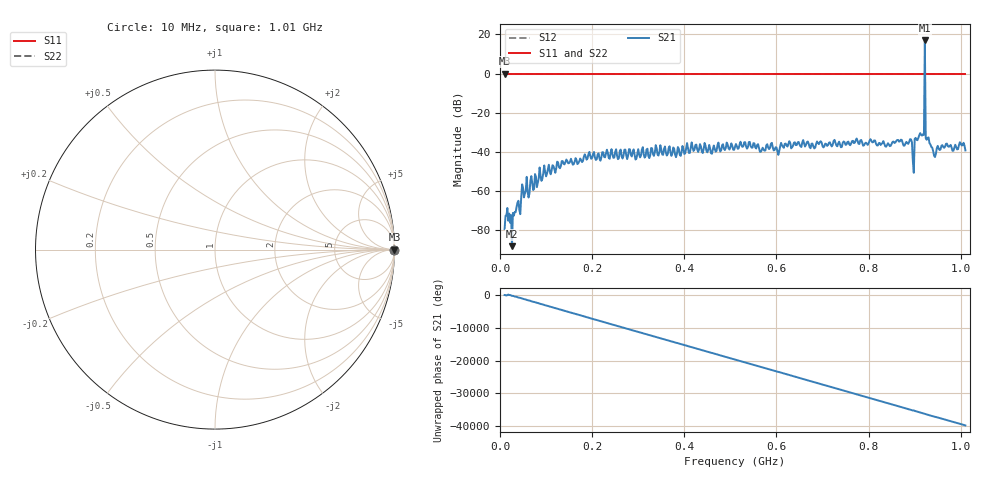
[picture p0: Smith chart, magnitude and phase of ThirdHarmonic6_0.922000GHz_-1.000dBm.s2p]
! 8/16/2025 6:06:57 AM
! C:\ANRITSUVNA\TEMP\TEMP.S2P
! CHANNEL.1
! TR.MEASUREMENT
! RAW.DATA
! RF.CORRECTION.OFF
! AVERAGING.OFF
! IF.BANDWIDTH: 5KHZ
! SWEEPTYPE:  FREQ.SWEEP(Linear)
! Reference Plane Port Info
! PORT:  PORT1  PORT2
! DISTANCE:  0  m  0  m
! TIME:  0  s  0  s
! PHASE.OFFSET:  0  deg.  0  deg.
! LOSS:  0  dB  0  dB
! REF.LOSS:  0  dB  0  dB
! REF.FREQ:  0  Hz  0  Hz
! Power Info
! POWER:  -20  dBm  -20  dBm
! EFF.POWER:  -20  dBm  -20  dBm
! SOURCE.ATTEN:  0  dB  0  dB
! TEST.ATTEN:  0  dB  0  dB
# GHZ S RI R 50.0
! FREQ.GHZ  S11RE  S11IM  S21RE  S21IM  S12RE  S12IM  S22RE  S22IM
!; PortSelection: Port_12
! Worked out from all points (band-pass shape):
!   501 points, 10 MHz to 1.01 GHz, reference 50 ohm
!   highest |S21| = 16.91 dB at 922 MHz (marker M1); lowest = -88.4 dB at 26 MHz (marker M2)
!   |S21| within 3 dB of the highest: 921.8758 MHz to 922.1198 MHz (244 kHz wide, 0.0265 % of centre)
!   lowest |S11| = 0.0 dB at 10 MHz (marker M3)
!   |S11| at or under -10 dB: nowhere
!   |S22| runs from 0.0 to 0.0 dB; largest |S21 - S12| = 7.8
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0.01  1 0  5.01e-05 9.25e-05  1 0  1 0
0.016  1 0  0.000256 0.000256  1 0  1 0
0.026  1 0  -3.79e-05 4.8e-06  1 0  1 0
0.054  1 0  -0.000794 -0.000297  1 0  1 0
0.1  1 0  -0.000573 0.00226  1 0  1 0
0.178  1 0  -0.00539 -0.000582  1 0  1 0
0.344  1 0  0.00766 -0.00224  1 0  1 0
0.51  1 0  -0.0124 0.00478  1 0  1 0
0.678  1 0  -0.0104 -0.0123  1 0  1 0
0.844  1 0  0.0134 0.00711  1 0  1 0
0.89  1 0  0.0203 -0.00478  1 0  1 0
0.896  1 0  0.00193 0.00535  1 0  1 0
0.9  1 0  0.0124 -0.0171  1 0  1 0
0.904  1 0  -0.0142 0.0143  1 0  1 0
0.916  1 0  0.0258 0.00136  1 0  1 0
0.918  1 0  0.00416 -0.0277  1 0  1 0
0.922  1 0  -5.171 4.732  1 0  1 0
0.926  1 0  0.0105 -0.0172  1 0  1 0
0.928  1 0  -0.0168 -0.015  1 0  1 0
0.942  1 0  0.00773 0.00157  1 0  1 0
0.97  1 0  0.0158 -0.0029  1 0  1 0
1.01  1 0  -0.0106 0.0018  1 0  1 0
